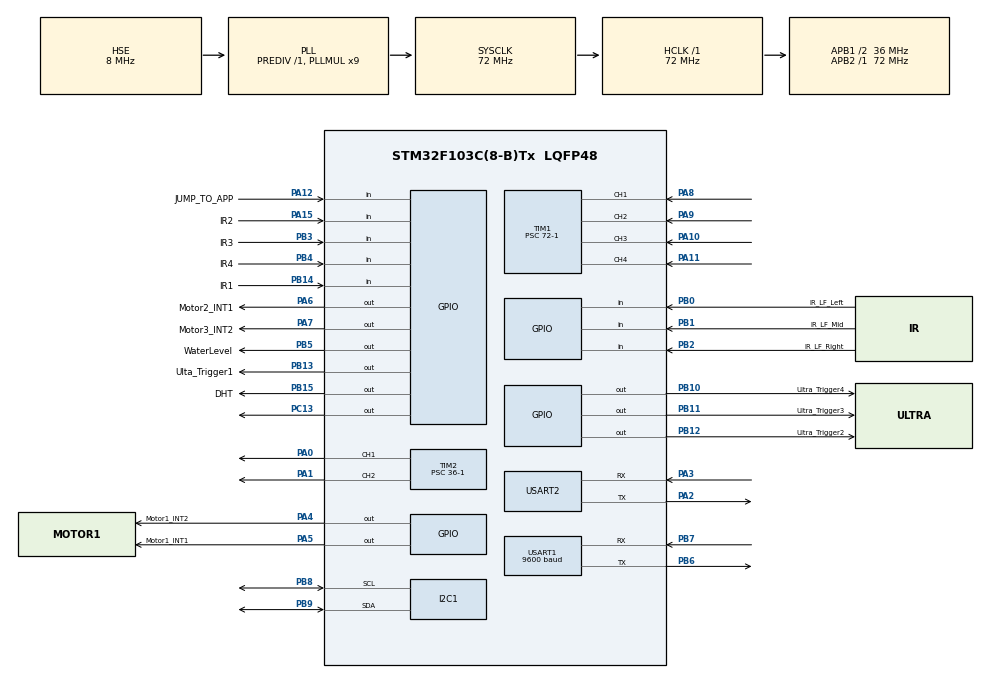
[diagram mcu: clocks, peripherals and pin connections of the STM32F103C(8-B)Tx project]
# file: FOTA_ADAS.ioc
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FREERTOS.Tasks01=defaultTask,0,128,StartDefaultTask,Default,NULL,Dynamic,NULL,NULL
FREERTOS.configUSE_NEWLIB_REENTRANT=1
I2C1.I2C_Mode=I2C_Fast
Mcu.Family=STM32F1
Mcu.Name=STM32F103C(8-B)Tx
Mcu.Package=LQFP48
NVIC.PriorityGroup=NVIC_PRIORITYGROUP_4
NVIC.TIM1_CC_IRQn=true\:5\:0\:false\:false\:true\:true\:true\:true\:true
NVIC.TIM4_IRQn=true\:15\:0\:false\:false\:true\:false\:false\:true\:true
NVIC.TimeBase=TIM4_IRQn
NVIC.TimeBaseIP=TIM4
PA0-WKUP.Signal=S_TIM2_CH1_ETR
PA1.Signal=S_TIM2_CH2
PA10.Signal=S_TIM1_CH3
PA11.Signal=S_TIM1_CH4
PA12.GPIO_Label=JUMP_TO_APP
PA12.Signal=GPIO_Input
PA13.Mode=Serial_Wire
PA13.Signal=SYS_JTMS-SWDIO
PA14.Mode=Serial_Wire
PA14.Signal=SYS_JTCK-SWCLK
PA15.GPIO_Label=IR2
PA15.Signal=GPIO_Input
PA2.Mode=Asynchronous
PA2.Signal=USART2_TX
PA3.Mode=Asynchronous
PA3.Signal=USART2_RX
PA4.GPIO_Label=Motor1_INT2
PA4.Signal=GPIO_Output
PA5.GPIO_Label=Motor1_INT1
PA5.Signal=GPIO_Output
PA6.GPIO_Label=Motor2_INT1
PA6.Signal=GPIO_Output
PA7.GPIO_Label=Motor3_INT2
PA7.Signal=GPIO_Output
PA8.Signal=S_TIM1_CH1
PA9.Signal=S_TIM1_CH2
PB0.GPIO_Label=IR_LF_Left
PB0.Signal=GPIO_Input
PB1.GPIO_Label=IR_LF_Mid
PB1.Signal=GPIO_Input
PB10.GPIO_Label=Ultra_Trigger4
PB10.Signal=GPIO_Output
PB11.GPIO_Label=Ultra_Trigger3
PB11.Signal=GPIO_Output
PB12.GPIO_Label=Ultra_Trigger2
PB12.Signal=GPIO_Output
PB13.GPIO_Label=Ulta_Trigger1
PB13.Signal=GPIO_Output
PB14.GPIO_Label=IR1
PB14.Signal=GPIO_Input
PB15.GPIO_Label=DHT
PB15.Signal=GPIO_Output
PB2.GPIO_Label=IR_LF_Right
PB2.Signal=GPIO_Input
PB3.GPIO_Label=IR3
PB3.Signal=GPIO_Input
PB4.GPIO_Label=IR4
PB4.Signal=GPIO_Input
PB5.GPIO_Label=WaterLevel
PB5.Signal=GPIO_Output
PB6.Mode=Asynchronous
PB6.Signal=USART1_TX
PB7.Mode=Asynchronous
PB7.Signal=USART1_RX
PB8.Mode=I2C
PB8.Signal=I2C1_SCL
PB9.Mode=I2C
PB9.Signal=I2C1_SDA
PC13-TAMPER-RTC.Signal=GPIO_Output
PD0-OSC_IN.Mode=HSE-External-Oscillator
PD0-OSC_IN.Signal=RCC_OSC_IN
PD1-OSC_OUT.Mode=HSE-External-Oscillator
PD1-OSC_OUT.Signal=RCC_OSC_OUT
ProjectManager.HeapSize=0x200
ProjectManager.StackSize=0x400
ProjectManager.TargetToolchain=STM32CubeIDE
RCC.AHBFreq_Value=72000000
RCC.APB1CLKDivider=RCC_HCLK_DIV2
RCC.APB1Freq_Value=36000000
RCC.APB1TimFreq_Value=72000000
RCC.APB2Freq_Value=72000000
RCC.APB2TimFreq_Value=72000000
RCC.HCLKFreq_Value=72000000
RCC.PLLMUL=RCC_PLL_MUL9
RCC.PLLSourceVirtual=RCC_PLLSOURCE_HSE
RCC.SYSCLKFreq_VALUE=72000000
RCC.SYSCLKSource=RCC_SYSCLKSOURCE_PLLCLK
RCC.USBFreq_Value=72000000
SH.S_TIM1_CH1.0=TIM1_CH1,Input_Capture1_from_TI1
SH.S_TIM1_CH2.0=TIM1_CH2,Input_Capture2_from_TI2
SH.S_TIM1_CH3.0=TIM1_CH3,Input_Capture3_from_TI3
SH.S_TIM1_CH4.0=TIM1_CH4,Input_Capture4_from_TI4
SH.S_TIM2_CH1_ETR.0=TIM2_CH1,PWM Generation1 CH1
SH.S_TIM2_CH2.0=TIM2_CH2,PWM Generation2 CH2
TIM1.Channel-Input_Capture1_from_TI1=TIM_CHANNEL_1
TIM1.Channel-Input_Capture2_from_TI2=TIM_CHANNEL_2
TIM1.Channel-Input_Capture3_from_TI3=TIM_CHANNEL_3
TIM1.Channel-Input_Capture4_from_TI4=TIM_CHANNEL_4
TIM1.Prescaler=72-1
TIM2.Channel-PWM\ Generation1\ CH1=TIM_CHANNEL_1
TIM2.Channel-PWM\ Generation2\ CH2=TIM_CHANNEL_2
TIM2.Period=100-1
TIM2.Prescaler=36-1
TIM3.Prescaler=14200-1
USART1.BaudRate=9600
USART1.VirtualMode=VM_ASYNC
USART2.VirtualMode=VM_ASYNC
VP_FREERTOS_VS_CMSIS_V1.Mode=CMSIS_V1
VP_SYS_VS_tim4.Mode=TIM4
VP_TIM1_VS_ClockSourceINT.Mode=Internal
VP_TIM2_VS_ClockSourceINT.Mode=Internal
VP_TIM3_VS_ClockSourceINT.Mode=Internal
board=custom

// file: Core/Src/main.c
/* USER CODE BEGIN Header */
/**
 ******************************************************************************
 * @file           : main.c
 * @brief          : Main program body
 ******************************************************************************
 * @attention
 *
 * Copyright (c) 2024 STMicroelectronics.
 * All rights reserved.
 *
 * This software is licensed under terms that can be found in the LICENSE file
 * in the root directory of this software component.
 * If no LICENSE file comes with this software, it is provided AS-IS.
 *
 ******************************************************************************
 */
/* USER CODE END Header */
#include "main.h"
#include "cmsis_os.h"

/* USER CODE BEGIN Includes */
#include "GSM_GPS.h"
#include "Car_Interface.h"
#include "Data_Manager.h"
#include "dht22.h"
#include "IR.h"
#include "WaterSensor.h"
#include "Ultrasonic.h"
#include "Motor.h"
#include "Car_Interface.h"
#include "mpu6050.h"
/* USER CODE END Includes */

I2C_HandleTypeDef hi2c1;

TIM_HandleTypeDef htim1;
TIM_HandleTypeDef htim2;
TIM_HandleTypeDef htim3;

UART_HandleTypeDef huart1;
UART_HandleTypeDef huart2;

osThreadId defaultTaskHandle;

void SystemClock_Config(void);
static void MX_GPIO_Init(void);
static void MX_I2C1_Init(void);
static void MX_TIM1_Init(void);
static void MX_TIM2_Init(void);
static void MX_USART1_UART_Init(void);
static void MX_USART2_UART_Init(void);
static void MX_TIM3_Init(void);
void StartDefaultTask(void const * argument);

/* USER CODE BEGIN 0 */
void Alert_Task            (void  * argument);
void Accident_Task         (void  * argument);
void GetReading_Task       (void  * argument);
void AutoPark_Task         (void  * argument);
void LineFollower_Task     (void  * argument);
void ACC_Task              (void  * argument);
void DashBoard_Task        (void  * argument);
void UARTRec_Task          (void  * argument);

EventGroupHandle_t         EG_Accident = NULL;
EventBits_t                EG_AccidentValue  = 0;
#define EG_Accident_Det   (1<<0)

State_t System_State;
Data_Manager_t System_Data;
uint8_t Loc[19]={0};
MPU6050_t MPU6050;
/* USER CODE END 0 */

int main(void)
{

	/* MCU Configuration--------------------------------------------------------*/

	/* Reset of all peripherals, Initializes the Flash interface and the Systick. */
	HAL_Init();

	/* Configure the system clock */
	SystemClock_Config();

	/* Initialize all configured peripherals */
	MX_GPIO_Init();
	MX_I2C1_Init();
	MX_TIM1_Init();
	MX_TIM2_Init();
	MX_USART1_UART_Init();
	MX_USART2_UART_Init();
	MX_TIM3_Init();
	/* USER CODE BEGIN 2 */
	//

	while(MPU6050_Init(&hi2c1) == 1);
	xTaskCreate(Alert_Task, NULL, 100 , NULL , 7 , NULL);
	xTaskCreate(Accident_Task, NULL, 100 , NULL , 6 , NULL);
	xTaskCreate(GetReading_Task, NULL, 100 , NULL , 5 , NULL);
	xTaskCreate(AutoPark_Task, NULL, 100 , NULL , 2 , NULL);
	xTaskCreate(LineFollower_Task, NULL, 100 , NULL , 3 , NULL);
	xTaskCreate(ACC_Task, NULL, 100 , NULL , 4 , NULL);
	xTaskCreate(DashBoard_Task, NULL, 100 , NULL , 1 , NULL);
	xTaskCreate(UARTRec_Task, NULL, 100 , NULL , 8 , NULL);

	//ultrasonic_voidInit();
	//Service_Car_Start();

	//Service_Car_MoveStraightForward(90);
	//Service_Car_MoveStraightBackward(90);
	//Service_Car_MoveSteeringRightForward(90);
	//Service_Car_MoveSteeringLeftForward(90);
	//   Service_Car_MoveSteeringLeftBackward(uint8_t copy_u8Speed);
	//   Service_Car_MoveSteeringRigthBackward(uint8_t copy_u8Speed);
	//GSM_send_message();
	//GSM_send_message();
	/* USER CODE END 2 */

	/* Create the thread(s) */
	/* definition and creation of defaultTask */
	osThreadDef(defaultTask, StartDefaultTask, osPriorityNormal, 0, 128);
	defaultTaskHandle = osThreadCreate(osThread(defaultTask), NULL);

	/* Start scheduler */
	osKernelStart();
	/* We should never get here as control is now taken by the scheduler */
	/* Infinite loop */
	/* USER CODE BEGIN WHILE */
	while (1)
	{
		//GSM_make_call();
		//GSM_CHECK();
		//HAL_Delay(1000);
		//GSM_make_call();
		//X = FrontUltrasonic_voidGetDistance();
		//HAL_Delay(1000);
		//GSM_send_message();
		/*MPU6050_Read_All(&hi2c1,&MPU6050);
		HAL_Delay(500);
		if(MPU6050.KalmanAngleX < -30.0)
		{
			GSM_make_call();

			if(x == 0)
			{
				GSM_send_message();
				x=1;
			}
			//GSM_send_message();
		}*/

		/* USER CODE END WHILE */

	}
}

void SystemClock_Config(void)
{
	RCC_OscInitTypeDef RCC_OscInitStruct = {0};
	RCC_ClkInitTypeDef RCC_ClkInitStruct = {0};

	/** Initializes the RCC Oscillators according to the specified parameters
	 * in the RCC_OscInitTypeDef structure.
	 */
	RCC_OscInitStruct.OscillatorType = RCC_OSCILLATORTYPE_HSE;
	RCC_OscInitStruct.HSEState = RCC_HSE_ON;
	RCC_OscInitStruct.HSEPredivValue = RCC_HSE_PREDIV_DIV1;
	RCC_OscInitStruct.HSIState = RCC_HSI_ON;
	RCC_OscInitStruct.PLL.PLLState = RCC_PLL_ON;
	RCC_OscInitStruct.PLL.PLLSource = RCC_PLLSOURCE_HSE;
	RCC_OscInitStruct.PLL.PLLMUL = RCC_PLL_MUL9;
	if (HAL_RCC_OscConfig(&RCC_OscInitStruct) != HAL_OK)
	{
		Error_Handler();
	}

	/** Initializes the CPU, AHB and APB buses clocks
	 */
	RCC_ClkInitStruct.ClockType = RCC_CLOCKTYPE_HCLK|RCC_CLOCKTYPE_SYSCLK
			|RCC_CLOCKTYPE_PCLK1|RCC_CLOCKTYPE_PCLK2;
	RCC_ClkInitStruct.SYSCLKSource = RCC_SYSCLKSOURCE_PLLCLK;
	RCC_ClkInitStruct.AHBCLKDivider = RCC_SYSCLK_DIV1;
	RCC_ClkInitStruct.APB1CLKDivider = RCC_HCLK_DIV2;
	RCC_ClkInitStruct.APB2CLKDivider = RCC_HCLK_DIV1;

	if (HAL_RCC_ClockConfig(&RCC_ClkInitStruct, FLASH_LATENCY_2) != HAL_OK)
	{
		Error_Handler();
	}
}

static void MX_I2C1_Init(void)
{

	hi2c1.Instance = I2C1;
	hi2c1.Init.ClockSpeed = 400000;
	hi2c1.Init.DutyCycle = I2C_DUTYCYCLE_2;
	hi2c1.Init.OwnAddress1 = 0;
	hi2c1.Init.AddressingMode = I2C_ADDRESSINGMODE_7BIT;
	hi2c1.Init.DualAddressMode = I2C_DUALADDRESS_DISABLE;
	hi2c1.Init.OwnAddress2 = 0;
	hi2c1.Init.GeneralCallMode = I2C_GENERALCALL_DISABLE;
	hi2c1.Init.NoStretchMode = I2C_NOSTRETCH_DISABLE;
	if (HAL_I2C_Init(&hi2c1) != HAL_OK)
	{
		Error_Handler();
	}

}

static void MX_TIM1_Init(void)
{

	TIM_ClockConfigTypeDef sClockSourceConfig = {0};
	TIM_MasterConfigTypeDef sMasterConfig = {0};
	TIM_IC_InitTypeDef sConfigIC = {0};

	htim1.Instance = TIM1;
	htim1.Init.Prescaler = 72-1;
	htim1.Init.CounterMode = TIM_COUNTERMODE_UP;
	htim1.Init.Period = 65535;
	htim1.Init.ClockDivision = TIM_CLOCKDIVISION_DIV1;
	htim1.Init.RepetitionCounter = 0;
	htim1.Init.AutoReloadPreload = TIM_AUTORELOAD_PRELOAD_DISABLE;
	if (HAL_TIM_Base_Init(&htim1) != HAL_OK)
	{
		Error_Handler();
	}
	sClockSourceConfig.ClockSource = TIM_CLOCKSOURCE_INTERNAL;
	if (HAL_TIM_ConfigClockSource(&htim1, &sClockSourceConfig) != HAL_OK)
	{
		Error_Handler();
	}
	if (HAL_TIM_IC_Init(&htim1) != HAL_OK)
	{
		Error_Handler();
	}
	sMasterConfig.MasterOutputTrigger = TIM_TRGO_RESET;
	sMasterConfig.MasterSlaveMode = TIM_MASTERSLAVEMODE_DISABLE;
	if (HAL_TIMEx_MasterConfigSynchronization(&htim1, &sMasterConfig) != HAL_OK)
	{
		Error_Handler();
	}
	sConfigIC.ICPolarity = TIM_INPUTCHANNELPOLARITY_RISING;
	sConfigIC.ICSelection = TIM_ICSELECTION_DIRECTTI;
	sConfigIC.ICPrescaler = TIM_ICPSC_DIV1;
	sConfigIC.ICFilter = 0;
	if (HAL_TIM_IC_ConfigChannel(&htim1, &sConfigIC, TIM_CHANNEL_1) != HAL_OK)
	{
		Error_Handler();
	}
	if (HAL_TIM_IC_ConfigChannel(&htim1, &sConfigIC, TIM_CHANNEL_2) != HAL_OK)
	{
		Error_Handler();
	}
	if (HAL_TIM_IC_ConfigChannel(&htim1, &sConfigIC, TIM_CHANNEL_3) != HAL_OK)
	{
		Error_Handler();
	}
	if (HAL_TIM_IC_ConfigChannel(&htim1, &sConfigIC, TIM_CHANNEL_4) != HAL_OK)
	{
		Error_Handler();
	}

}

static void MX_TIM2_Init(void)
{

	TIM_ClockConfigTypeDef sClockSourceConfig = {0};
	TIM_MasterConfigTypeDef sMasterConfig = {0};
	TIM_OC_InitTypeDef sConfigOC = {0};

	htim2.Instance = TIM2;
	htim2.Init.Prescaler = 36-1;
	htim2.Init.CounterMode = TIM_COUNTERMODE_UP;
	htim2.Init.Period = 100-1;
	htim2.Init.ClockDivision = TIM_CLOCKDIVISION_DIV1;
	htim2.Init.AutoReloadPreload = TIM_AUTORELOAD_PRELOAD_DISABLE;
	if (HAL_TIM_Base_Init(&htim2) != HAL_OK)
	{
		Error_Handler();
	}
	sClockSourceConfig.ClockSource = TIM_CLOCKSOURCE_INTERNAL;
	if (HAL_TIM_ConfigClockSource(&htim2, &sClockSourceConfig) != HAL_OK)
	{
		Error_Handler();
	}
	if (HAL_TIM_PWM_Init(&htim2) != HAL_OK)
	{
		Error_Handler();
	}
	sMasterConfig.MasterOutputTrigger = TIM_TRGO_RESET;
	sMasterConfig.MasterSlaveMode = TIM_MASTERSLAVEMODE_DISABLE;
	if (HAL_TIMEx_MasterConfigSynchronization(&htim2, &sMasterConfig) != HAL_OK)
	{
		Error_Handler();
	}
	sConfigOC.OCMode = TIM_OCMODE_PWM1;
	sConfigOC.Pulse = 0;
	sConfigOC.OCPolarity = TIM_OCPOLARITY_HIGH;
	sConfigOC.OCFastMode = TIM_OCFAST_DISABLE;
	if (HAL_TIM_PWM_ConfigChannel(&htim2, &sConfigOC, TIM_CHANNEL_1) != HAL_OK)
	{
		Error_Handler();
	}
	if (HAL_TIM_PWM_ConfigChannel(&htim2, &sConfigOC, TIM_CHANNEL_2) != HAL_OK)
	{
		Error_Handler();
	}
	HAL_TIM_MspPostInit(&htim2);

}

static void MX_TIM3_Init(void)
{

	TIM_ClockConfigTypeDef sClockSourceConfig = {0};
	TIM_MasterConfigTypeDef sMasterConfig = {0};

	htim3.Instance = TIM3;
	htim3.Init.Prescaler = 14200-1;
	htim3.Init.CounterMode = TIM_COUNTERMODE_UP;
	htim3.Init.Period = 65535;
	htim3.Init.ClockDivision = TIM_CLOCKDIVISION_DIV1;
	htim3.Init.AutoReloadPreload = TIM_AUTORELOAD_PRELOAD_DISABLE;
	if (HAL_TIM_Base_Init(&htim3) != HAL_OK)
	{
		Error_Handler();
	}
	sClockSourceConfig.ClockSource = TIM_CLOCKSOURCE_INTERNAL;
	if (HAL_TIM_ConfigClockSource(&htim3, &sClockSourceConfig) != HAL_OK)
	{
		Error_Handler();
	}
	sMasterConfig.MasterOutputTrigger = TIM_TRGO_RESET;
	sMasterConfig.MasterSlaveMode = TIM_MASTERSLAVEMODE_DISABLE;
	if (HAL_TIMEx_MasterConfigSynchronization(&htim3, &sMasterConfig) != HAL_OK)
	{
		Error_Handler();
	}

}

static void MX_USART1_UART_Init(void)
{

	huart1.Instance = USART1;
	huart1.Init.BaudRate = 9600;
	huart1.Init.WordLength = UART_WORDLENGTH_8B;
	huart1.Init.StopBits = UART_STOPBITS_1;
	huart1.Init.Parity = UART_PARITY_NONE;
	huart1.Init.Mode = UART_MODE_TX_RX;
	huart1.Init.HwFlowCtl = UART_HWCONTROL_NONE;
	huart1.Init.OverSampling = UART_OVERSAMPLING_16;
	if (HAL_UART_Init(&huart1) != HAL_OK)
	{
		Error_Handler();
	}

}

static void MX_USART2_UART_Init(void)
{

	huart2.Instance = USART2;
	huart2.Init.BaudRate = 115200;
	huart2.Init.WordLength = UART_WORDLENGTH_8B;
	huart2.Init.StopBits = UART_STOPBITS_1;
	huart2.Init.Parity = UART_PARITY_NONE;
	huart2.Init.Mode = UART_MODE_TX_RX;
	huart2.Init.HwFlowCtl = UART_HWCONTROL_NONE;
	huart2.Init.OverSampling = UART_OVERSAMPLING_16;
	if (HAL_UART_Init(&huart2) != HAL_OK)
	{
		Error_Handler();
	}

}

static void MX_GPIO_Init(void)
{
	GPIO_InitTypeDef GPIO_InitStruct = {0};

	/* GPIO Ports Clock Enable */
	__HAL_RCC_GPIOC_CLK_ENABLE();
	__HAL_RCC_GPIOD_CLK_ENABLE();
	__HAL_RCC_GPIOA_CLK_ENABLE();
	__HAL_RCC_GPIOB_CLK_ENABLE();

	/*Configure GPIO pin Output Level */
	HAL_GPIO_WritePin(GPIOC, GPIO_PIN_13, GPIO_PIN_RESET);

	/*Configure GPIO pin Output Level */
	HAL_GPIO_WritePin(GPIOA, Motor1_INT2_Pin|Motor1_INT1_Pin|Motor2_INT1_Pin|Motor3_INT2_Pin, GPIO_PIN_RESET);

	/*Configure GPIO pin Output Level */
	HAL_GPIO_WritePin(GPIOB, Ultra_Trigger4_Pin|Ultra_Trigger3_Pin|Ultra_Trigger2_Pin|Ulta_Trigger1_Pin
			|DHT_Pin|WaterLevel_Pin, GPIO_PIN_RESET);

	/*Configure GPIO pin : PC13 */
	GPIO_InitStruct.Pin = GPIO_PIN_13;
	GPIO_InitStruct.Mode = GPIO_MODE_OUTPUT_PP;
	GPIO_InitStruct.Pull = GPIO_NOPULL;
	GPIO_InitStruct.Speed = GPIO_SPEED_FREQ_LOW;
	HAL_GPIO_Init(GPIOC, &GPIO_InitStruct);

	/*Configure GPIO pins : Motor1_INT2_Pin Motor1_INT1_Pin Motor2_INT1_Pin Motor3_INT2_Pin */
	GPIO_InitStruct.Pin = Motor1_INT2_Pin|Motor1_INT1_Pin|Motor2_INT1_Pin|Motor3_INT2_Pin;
	GPIO_InitStruct.Mode = GPIO_MODE_OUTPUT_PP;
	GPIO_InitStruct.Pull = GPIO_NOPULL;
	GPIO_InitStruct.Speed = GPIO_SPEED_FREQ_LOW;
	HAL_GPIO_Init(GPIOA, &GPIO_InitStruct);

	/*Configure GPIO pins : IR_LF_Left_Pin IR_LF_Mid_Pin IR_LF_Right_Pin IR1_Pin
                           IR3_Pin IR4_Pin */
	GPIO_InitStruct.Pin = IR_LF_Left_Pin|IR_LF_Mid_Pin|IR_LF_Right_Pin|IR1_Pin
			|IR3_Pin|IR4_Pin;
	GPIO_InitStruct.Mode = GPIO_MODE_INPUT;
	GPIO_InitStruct.Pull = GPIO_NOPULL;
	HAL_GPIO_Init(GPIOB, &GPIO_InitStruct);

	/*Configure GPIO pins : Ultra_Trigger4_Pin Ultra_Trigger3_Pin Ultra_Trigger2_Pin Ulta_Trigger1_Pin
                           DHT_Pin WaterLevel_Pin */
	GPIO_InitStruct.Pin = Ultra_Trigger4_Pin|Ultra_Trigger3_Pin|Ultra_Trigger2_Pin|Ulta_Trigger1_Pin
			|DHT_Pin|WaterLevel_Pin;
	GPIO_InitStruct.Mode = GPIO_MODE_OUTPUT_PP;
	GPIO_InitStruct.Pull = GPIO_NOPULL;
	GPIO_InitStruct.Speed = GPIO_SPEED_FREQ_LOW;
	HAL_GPIO_Init(GPIOB, &GPIO_InitStruct);

	/*Configure GPIO pins : JUMP_TO_APP_Pin IR2_Pin */
	GPIO_InitStruct.Pin = JUMP_TO_APP_Pin|IR2_Pin;
	GPIO_InitStruct.Mode = GPIO_MODE_INPUT;
	GPIO_InitStruct.Pull = GPIO_NOPULL;
	HAL_GPIO_Init(GPIOA, &GPIO_InitStruct);

}

/* USER CODE BEGIN 4 */
void Alert_Task            (void  * argument)
{
	while(1)
	{
		EG_AccidentValue = xEventGroupWaitBits(EG_Accident,
				(EG_Accident_Det) ,
				1, // Auto Clear
				0, // Or Between bits not wait for all of the events
				portMAX_DELAY);

		if(EG_AccidentValue & EG_Accident_Det)
		{
			GSM_send_message();
			GSM_make_call();
			GPS_take_location(Loc);
		}
	}
}
void Accident_Task         (void  * argument)
{
	while(1)
	{
		MPU6050_Read_All(&hi2c1,&MPU6050);
		if(MPU6050.KalmanAngleX < -30.0 || MPU6050.KalmanAngleX > 30.0 || MPU6050.KalmanAngleY < -30.0 ||  MPU6050.KalmanAngleY > 30.0)
		{
			// Set EG bit
			xEventGroupSetBits(EG_Accident, EG_Accident_Det);
		}
		vTaskDelay(500);
	}
}
void GetReading_Task       (void  * argument)
{
	while(1)
	{
		vTaskDelay(300);
	}
}
void AutoPark_Task         (void  * argument)
{
	while(1)
	{
		if(System_State == AUTO_PARK_STATE)
		{

		}
	}
}

void LineFollower_Task     (void  * argument)
{
	while(1)
	{
		if(System_State == LINE_FOLLOWER_STATE || System_State == LINE_ACC_STATE)
		{
			if((System_Data.IR_LF_Left==1) && (System_Data.IR_LF_Mid==1) && (System_Data.IR_LF_Right==1))
			{
				Motor_voidStopFront();
				Motor_voidStopRear();
			}
			if((System_Data.IR_LF_Left==0) && (System_Data.IR_LF_Mid==1) && (System_Data.IR_LF_Right==0))
			{
				Motor_voidMoveForward();
			}
			if((System_Data.IR_LF_Left==0) && (System_Data.IR_LF_Mid==1) && (System_Data.IR_LF_Right==1))
			{
				Motor_voidTurnRight();
			}
			if((System_Data.IR_LF_Left==0) && (System_Data.IR_LF_Mid==0) && (System_Data.IR_LF_Right==1))
			{
				Motor_voidTurnRight();
			}
			if((System_Data.IR_LF_Left==1) && (System_Data.IR_LF_Mid==1) && (System_Data.IR_LF_Right==0))
			{
				Motor_voidTurnLeft();
			}
			if((System_Data.IR_LF_Left==1) && (System_Data.IR_LF_Mid==0) && (System_Data.IR_LF_Right==0))
			{
				Motor_voidTurnLeft();
			}
			if((System_Data.IR_LF_Left==0) && (System_Data.IR_LF_Mid==0) && (System_Data.IR_LF_Right==0))
			{
				Motor_voidMoveForward();
			}
		}
	}
}

void ACC_Task              (void  * argument)
{
	while(1)
	{
		if(System_State == ACC_STATE || System_State == LINE_ACC_STATE)
		{

		}
	}
}
void DashBoard_Task        (void  * argument)
{
	while(1)
	{

	}
}
void UARTRec_Task          (void  * argument)
{
	while(1)
	{

	}
}
/* USER CODE END 4 */

void StartDefaultTask(void const * argument)
{
	for(;;)
	{
		osDelay(1);
	}
}

void HAL_TIM_PeriodElapsedCallback(TIM_HandleTypeDef *htim)
{
	if (htim->Instance == TIM4) {
		HAL_IncTick();
	}
}

void Error_Handler(void)
{
	__disable_irq();
	while (1)
	{
	}
}
